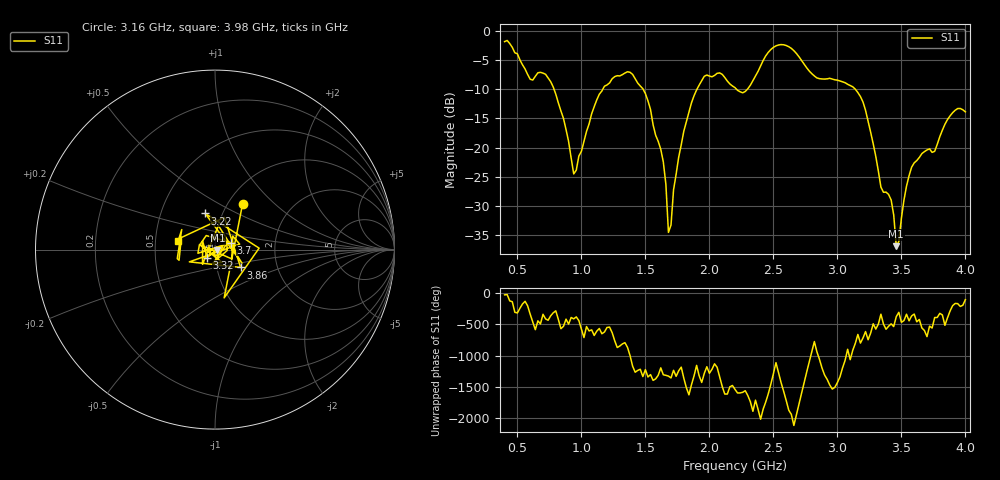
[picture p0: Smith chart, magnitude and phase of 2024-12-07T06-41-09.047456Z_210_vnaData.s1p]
!Created with skrf (http://scikit-rf.org).
# Hz S RI R 50.0
!freq ReS11 ImS11
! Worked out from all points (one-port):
!   181 points, 400 MHz to 4 GHz, reference 50 ohm
!   lowest |S11| = -36.9 dB at 3.46 GHz (marker M1), VSWR 1.03, Z = 51.4 - j0.385 ohm
!   |S11| at or under -10 dB: 786.3 MHz to 1.167 GHz (380.7 MHz wide, 39 % of centre); 1.482 GHz to 1.903 GHz (420.2 MHz wide, 24.8 % of centre); 3.14 GHz to end of sweep (the widest 3 of 4)
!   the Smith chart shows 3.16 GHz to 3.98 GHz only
!   S11 on the Smith chart (normalised r, x): 3.16 GHz: 1.17, +0.65; 3.22 GHz: 0.83, +0.35; 3.32 GHz: 0.91, -0.08; 3.7 GHz: 1.19, +0.09; 3.86 GHz: 1.30, -0.27; 3.98 GHz: 0.66, +0.06
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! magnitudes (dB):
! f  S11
! 400 MHz  -1.8
! 600 MHz  -8.3
! 720 MHz  -7.4
! 860 MHz  -15.0
! 940 MHz  -24.5
! 1.14 GHz  -10.8
! 1.3 GHz  -7.7
! 1.52 GHz  -12.0
! 1.64 GHz  -22.5
! 1.68 GHz  -34.5
! 1.76 GHz  -21.6
! 1.86 GHz  -12.3
! 1.96 GHz  -7.8
! 2.2 GHz  -9.7
! 2.28 GHz  -10.4
! 2.5 GHz  -2.8
! 2.66 GHz  -3.4
! 3.1 GHz  -9.4
! 3.16 GHz  -10.6
! 3.22 GHz  -13.6
! 3.32 GHz  -24.0
! 3.42 GHz  -29.0
! 3.46 GHz  -36.9
! 3.56 GHz  -24.8
! 3.7 GHz  -20.4
! 3.86 GHz  -15.2
! 3.98 GHz  -13.5
! 4 GHz  -13.9
